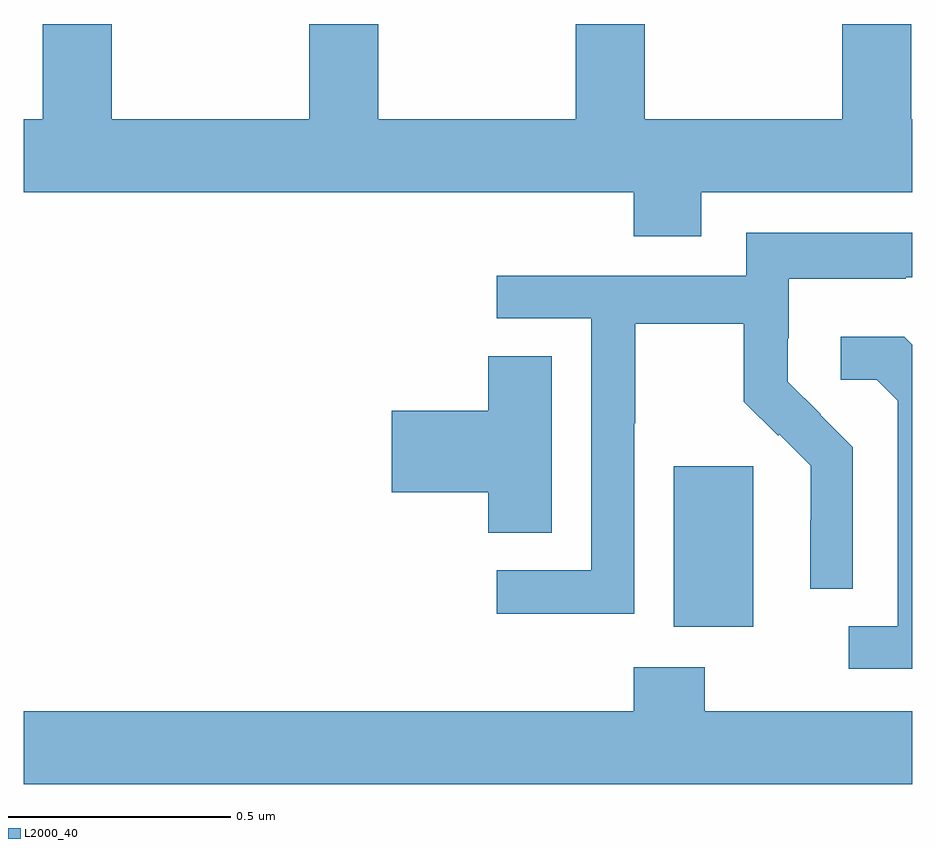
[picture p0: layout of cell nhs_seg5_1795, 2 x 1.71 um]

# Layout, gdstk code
import gdstk
lib = gdstk.Library(unit=1e-6, precision=1e-09)
def R(c, l, rs):  # rectangles x0, y0, x1, y1
    for r in rs: c.add(gdstk.rectangle(r[:2], r[2:], *l))
def P(c, l, *ps):  # polygons
    for p in ps: c.add(gdstk.Polygon(p, *l))
L2000_40 = (2000, 40)

nhs_seg5_1795 = lib.new_cell('nhs_seg5_1795')
R(nhs_seg5_1795, L2000_40, [(136.463,862.442,136.642,862.803)])
P(nhs_seg5_1795, L2000_40, [(136.525,863.42),(137,863.42),(137,863.584),(136.998,863.584),(136.998,863.799),(136.843,863.799),(136.843,863.584),(136.398,863.584),(136.398,863.799),(136.243,863.799),(136.243,863.584),(135.798,863.584),(135.798,863.799),(135.643,863.799),(135.643,863.584),(135.198,863.584),(135.198,863.799),(135.043,863.799),(135.043,863.584),(135,863.584),(135,863.42),(136.373,863.42),(136.373,863.321),(136.525,863.321)],
  [(136.374,862.9),(136.377,862.9),(136.377,863.124),(136.621,863.124),(136.621,862.949),(136.698,862.872),(136.701,862.875),(136.772,862.805),(136.772,862.682),(136.77,862.682),(136.77,862.528),(136.866,862.528),(136.866,862.846),(136.793,862.919),(136.794,862.92),(136.72,862.994),(136.72,863.091),(136.722,863.091),(136.722,863.225),(136.985,863.225),(136.985,863.229),(137,863.229),(137,863.329),(136.626,863.329),(136.626,863.232),(136.065,863.232),(136.065,863.136),(136.278,863.136),(136.278,862.569),(136.065,862.569),(136.065,862.471),(136.374,862.471)],
  [(137,863.077),(136.982,863.095),(136.839,863.095),(136.839,862.998),(136.92,862.998),(136.967,862.951),(136.967,862.443),(136.857,862.443),(136.857,862.347),(137,862.347)],
  [(136.189,863.051),(136.046,863.051),(136.046,862.928),(135.828,862.928),(135.828,862.745),(136.046,862.745),(136.046,862.654),(136.189,862.654)],
  [(137,862.252),(136.533,862.252),(136.533,862.351),(136.373,862.351),(136.373,862.252),(135,862.252),(135,862.088),(137,862.088)])

lib.write_gds('nhs_seg5_1795.gds')
